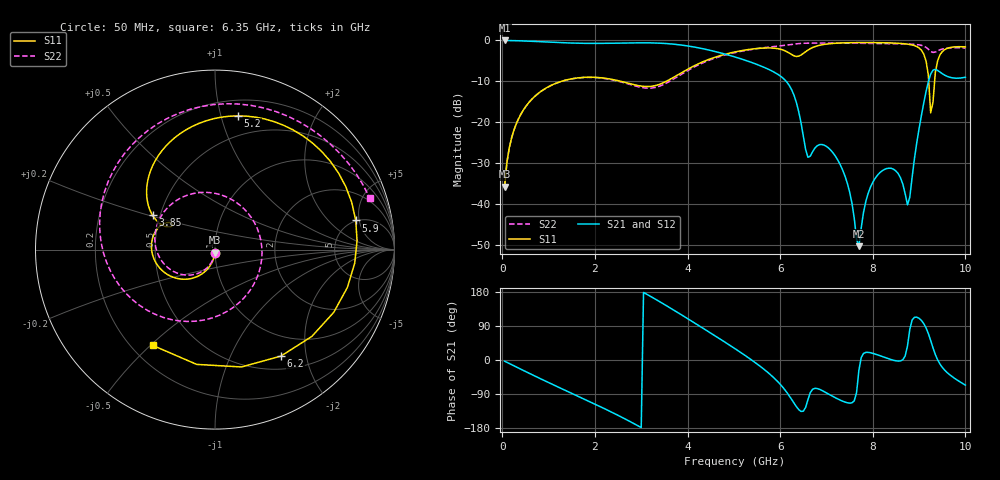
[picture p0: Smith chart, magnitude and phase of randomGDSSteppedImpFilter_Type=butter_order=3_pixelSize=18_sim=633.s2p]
! freq	dB(S11)	phase(S11)	dB(S12)	phase(S12)
!  dB(S21)	phase(S21)	dB(S22)	phase(S22)
!S-par simulation data
#  GHz  S  DB  R 50
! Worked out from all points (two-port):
!   200 points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, 50 MHz to 10 GHz, reference 50 ohm
!   highest |S21| = -0.01 dB at 50 MHz (marker M1); lowest = -50.3 dB at 7.7 GHz (marker M2)
!   |S21| within 3 dB of the highest: start of sweep to 4.698 GHz
!   lowest |S11| = -35.8 dB at 50 MHz (marker M3), VSWR 1.03, Z = 49.9 - j1.63 ohm
!   |S11| at or under -10 dB: start of sweep to 1.279 GHz; 2.558 GHz to 3.542 GHz (983.1 MHz wide, 32.2 % of centre); 9.208 GHz to 9.336 GHz (127.4 MHz wide, 1.37 % of centre)
!   |S22| runs from -35.8 to -0.6 dB; largest |S21 - S12| = 0
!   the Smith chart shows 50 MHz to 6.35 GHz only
!   S11 on the Smith chart (normalised r, x): 50 MHz: 1.00, -0.03; 3.85 GHz: 0.45, +0.21; 5.2 GHz: 0.33, +1.13; 5.9 GHz: 4.91, +4.45; 6.2 GHz: 0.68, -1.58; 6.35 GHz: 0.28, -0.51
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0.05  -35.76 -92.5  -0.01 -3.1  -0.01 -3.1  -35.76 -93.0
0.5  -16.27 -118.2  -0.14 -30.3  -0.14 -30.3  -16.28 -123.3
1.75  -9.04 -179.7  -0.70 -102.1  -0.70 -102.1  -9.08 154.5
2.7  -10.41 150.0  -0.62 -158.6  -0.62 -158.6  -10.60 72.7
3.4  -10.71 154.3  -0.67 153.8  -0.67 153.8  -11.18 -28.0
3.85  -8.02 151.2  -1.11 120.6  -1.11 120.6  -8.39 -92.3
5.05  -2.74 90.7  -4.13 27.9  -4.13 27.9  -2.91 143.0
5.2  -2.43 80.3  -4.67 15.6  -4.67 15.6  -2.56 128.7
5.9  -1.93 11.7  -7.95 -51.2  -7.95 -51.2  -1.45 61.4
6.2  -3.13 -58.2  -11.07 -95.2  -11.07 -95.2  -1.06 32.8
6.35  -3.92 -123.0  -15.17 -123.0  -15.17 -123.0  -0.84 18.4
6.5  -3.18 167.4  -23.36 -135.2  -23.36 -135.2  -0.69 3.6
6.7  -1.74 107.6  -27.24 -77.3  -27.24 -77.3  -0.65 -15.1
7.3  -0.63 33.0  -30.46 -106.1  -30.46 -106.1  -0.66 -64.5
7.7  -0.52 4.9  -50.32 -27.4  -50.32 -27.4  -0.69 -93.0
7.95  -0.52 -10.3  -35.90 19.2  -35.90 19.2  -0.73 -109.4
8.35  -0.60 -33.6  -31.25 2.9  -31.25 2.9  -0.79 -134.1
8.75  -0.90 -59.7  -40.22 37.4  -40.22 37.4  -0.88 -158.1
9.1  -3.31 -104.1  -15.37 96.2  -15.37 96.2  -1.39 178.1
9.25  -17.71 -175.2  -8.24 51.5  -8.24 51.5  -2.67 170.7
9.45  -3.55 -26.2  -7.73 -10.5  -7.73 -10.5  -2.31 169.8
10  -1.57 -80.6  -8.99 -66.4  -8.99 -66.4  -1.88 134.9
